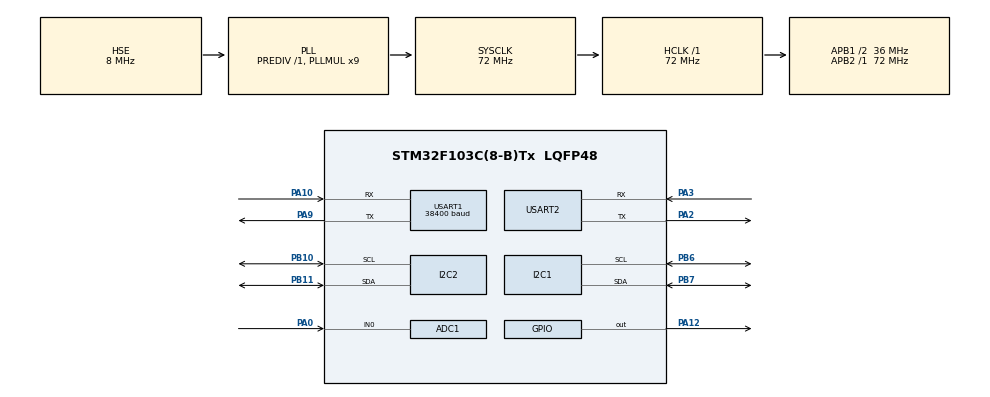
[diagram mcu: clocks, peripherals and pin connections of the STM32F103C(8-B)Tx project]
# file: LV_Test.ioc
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ADC1.Channel-5\#ChannelRegularConversion=ADC_CHANNEL_0
ADC1.ContinuousConvMode=ENABLE
ADC1.DataAlign=ADC_DATAALIGN_RIGHT
ADC1.DiscontinuousConvMode=DISABLE
ADC1.EnableAnalogWatchDog=false
ADC1.EnableRegularConversion=ENABLE
ADC1.ExternalTrigConv=ADC_SOFTWARE_START
ADC1.InjNumberOfConversion=0
ADC1.NbrOfConversion=1
ADC1.NbrOfConversionFlag=1
ADC1.Rank-5\#ChannelRegularConversion=1
ADC1.SamplingTime-5\#ChannelRegularConversion=ADC_SAMPLETIME_239CYCLES_5
ADC1.ScanConvMode=ADC_SCAN_DISABLE
ADC1.master=1
Dma.ADC1.2.Direction=DMA_PERIPH_TO_MEMORY
Dma.ADC1.2.Instance=DMA1_Channel1
Dma.ADC1.2.MemDataAlignment=DMA_MDATAALIGN_HALFWORD
Dma.ADC1.2.MemInc=DMA_MINC_ENABLE
Dma.ADC1.2.Mode=DMA_NORMAL
Dma.ADC1.2.PeriphDataAlignment=DMA_PDATAALIGN_HALFWORD
Dma.ADC1.2.PeriphInc=DMA_PINC_DISABLE
Dma.ADC1.2.Priority=DMA_PRIORITY_LOW
Dma.Request0=USART2_RX
Dma.Request1=USART1_RX
Dma.Request2=ADC1
Dma.USART1_RX.1.Direction=DMA_PERIPH_TO_MEMORY
Dma.USART1_RX.1.Instance=DMA1_Channel5
Dma.USART1_RX.1.MemDataAlignment=DMA_MDATAALIGN_BYTE
Dma.USART1_RX.1.MemInc=DMA_MINC_ENABLE
Dma.USART1_RX.1.Mode=DMA_NORMAL
Dma.USART1_RX.1.PeriphDataAlignment=DMA_PDATAALIGN_BYTE
Dma.USART1_RX.1.PeriphInc=DMA_PINC_DISABLE
Dma.USART1_RX.1.Priority=DMA_PRIORITY_LOW
Dma.USART2_RX.0.Direction=DMA_PERIPH_TO_MEMORY
Dma.USART2_RX.0.Instance=DMA1_Channel6
Dma.USART2_RX.0.MemDataAlignment=DMA_MDATAALIGN_BYTE
Dma.USART2_RX.0.MemInc=DMA_MINC_ENABLE
Dma.USART2_RX.0.Mode=DMA_NORMAL
Dma.USART2_RX.0.PeriphDataAlignment=DMA_PDATAALIGN_BYTE
Dma.USART2_RX.0.PeriphInc=DMA_PINC_DISABLE
Dma.USART2_RX.0.Priority=DMA_PRIORITY_LOW
I2C1.I2C_Mode=I2C_Standard
I2C2.I2C_Mode=I2C_Standard
I2C2.OwnAddress=111
Mcu.Family=STM32F1
Mcu.Name=STM32F103C(8-B)Tx
Mcu.Package=LQFP48
NVIC.ADC1_2_IRQn=true\:0\:0\:false\:false\:true\:true
NVIC.DMA1_Channel1_IRQn=true\:0\:0\:false\:false\:true\:false
NVIC.DMA1_Channel5_IRQn=true\:0\:0\:false\:false\:true\:false
NVIC.DMA1_Channel6_IRQn=true\:0\:0\:false\:false\:true\:false
NVIC.PriorityGroup=NVIC_PRIORITYGROUP_4
NVIC.USART1_IRQn=true\:0\:0\:false\:false\:true\:true
NVIC.USART2_IRQn=true\:0\:0\:false\:false\:true\:true
PA0-WKUP.Signal=ADCx_IN0
PA10.Mode=Asynchronous
PA10.Signal=USART1_RX
PA12.Signal=GPIO_Output
PA13.Mode=Serial_Wire
PA13.Signal=SYS_JTMS-SWDIO
PA14.Mode=Serial_Wire
PA14.Signal=SYS_JTCK-SWCLK
PA2.Mode=Asynchronous
PA2.Signal=USART2_TX
PA3.Mode=Asynchronous
PA3.Signal=USART2_RX
PA9.Mode=Asynchronous
PA9.Signal=USART1_TX
PB10.Mode=I2C
PB10.Signal=I2C2_SCL
PB11.Mode=I2C
PB11.Signal=I2C2_SDA
PB6.Mode=I2C
PB6.Signal=I2C1_SCL
PB7.Mode=I2C
PB7.Signal=I2C1_SDA
PD0-OSC_IN.Mode=HSE-External-Oscillator
PD0-OSC_IN.Signal=RCC_OSC_IN
PD1-OSC_OUT.Mode=HSE-External-Oscillator
PD1-OSC_OUT.Signal=RCC_OSC_OUT
ProjectManager.HeapSize=0x200
ProjectManager.StackSize=0x400
ProjectManager.TargetToolchain=MDK-ARM V5
RCC.ADCPresc=RCC_ADCPCLK2_DIV6
RCC.AHBFreq_Value=72000000
RCC.APB1CLKDivider=RCC_HCLK_DIV2
RCC.APB1Freq_Value=36000000
RCC.APB1TimFreq_Value=72000000
RCC.APB2Freq_Value=72000000
RCC.APB2TimFreq_Value=72000000
RCC.HCLKFreq_Value=72000000
RCC.PLLMUL=RCC_PLL_MUL9
RCC.PLLSourceVirtual=RCC_PLLSOURCE_HSE
RCC.SYSCLKFreq_VALUE=72000000
RCC.SYSCLKSource=RCC_SYSCLKSOURCE_PLLCLK
RCC.USBFreq_Value=72000000
SH.ADCx_IN0.0=ADC1_IN0,IN0
USART1.BaudRate=38400
USART1.VirtualMode=VM_ASYNC
USART2.VirtualMode=VM_ASYNC
board=custom

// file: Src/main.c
/**
  ******************************************************************************
  * @file           : main.c
  * @brief          : Main program body
  ******************************************************************************
  ** This notice applies to any and all portions of this file
  * that are not between comment pairs USER CODE BEGIN and
  * USER CODE END. Other portions of this file, whether
  * inserted by the user or by software development tools
  * are owned by their respective copyright owners.
  *
  * COPYRIGHT(c) 2018 STMicroelectronics
  *
  * Redistribution and use in source and binary forms, with or without modification,
  * are permitted provided that the following conditions are met:
  *   1. Redistributions of source code must retain the above copyright notice,
  *      this list of conditions and the following disclaimer.
  *   2. Redistributions in binary form must reproduce the above copyright notice,
  *      this list of conditions and the following disclaimer in the documentation
  *      and/or other materials provided with the distribution.
  *   3. Neither the name of STMicroelectronics nor the names of its contributors
  *      may be used to endorse or promote products derived from this software
  *      without specific prior written permission.
  *
  * THIS SOFTWARE IS PROVIDED BY THE COPYRIGHT HOLDERS AND CONTRIBUTORS "AS IS"
  * AND ANY EXPRESS OR IMPLIED WARRANTIES, INCLUDING, BUT NOT LIMITED TO, THE
  * IMPLIED WARRANTIES OF MERCHANTABILITY AND FITNESS FOR A PARTICULAR PURPOSE ARE
  * DISCLAIMED. IN NO EVENT SHALL THE COPYRIGHT HOLDER OR CONTRIBUTORS BE LIABLE
  * FOR ANY DIRECT, INDIRECT, INCIDENTAL, SPECIAL, EXEMPLARY, OR CONSEQUENTIAL
  * DAMAGES (INCLUDING, BUT NOT LIMITED TO, PROCUREMENT OF SUBSTITUTE GOODS OR
  * SERVICES; LOSS OF USE, DATA, OR PROFITS; OR BUSINESS INTERRUPTION) HOWEVER
  * CAUSED AND ON ANY THEORY OF LIABILITY, WHETHER IN CONTRACT, STRICT LIABILITY,
  * OR TORT (INCLUDING NEGLIGENCE OR OTHERWISE) ARISING IN ANY WAY OUT OF THE USE
  * OF THIS SOFTWARE, EVEN IF ADVISED OF THE POSSIBILITY OF SUCH DAMAGE.
  *
  ******************************************************************************
  */
#include "main.h"
#include "stm32f1xx_hal.h"

/* USER CODE BEGIN Includes */
#include <stdbool.h>
#include "stdio.h"
#include <stdlib.h>
#include <math.h>
#include <string.h>
#include "ds18b20_mflib.h"
#include "BH1750_lib.h"

/* USER CODE END Includes */

ADC_HandleTypeDef hadc1;
DMA_HandleTypeDef hdma_adc1;

I2C_HandleTypeDef hi2c1;
I2C_HandleTypeDef hi2c2;

UART_HandleTypeDef huart1;
UART_HandleTypeDef huart2;
DMA_HandleTypeDef hdma_usart1_rx;
DMA_HandleTypeDef hdma_usart2_rx;

/* USER CODE BEGIN PV */
/* Private variables ---------------------------------------------------------*/
uint32_t time_us;
uint32_t temp=0;

volatile uint16_t vt=0,vt_all=0,ADC_value;
volatile uint8_t send_data=42,receive_data;
char receive[2],send[1000],receive_all[1000];
volatile uint16_t BH_value=0;
int a;
volatile float ADC_Phys;
volatile bool IsCplConvADC=false;
/* USER CODE END PV */

void SystemClock_Config(void);
static void MX_GPIO_Init(void);
static void MX_DMA_Init(void);
static void MX_USART1_UART_Init(void);
static void MX_USART2_UART_Init(void);
static void MX_I2C1_Init(void);
static void MX_I2C2_Init(void);
static void MX_ADC1_Init(void);

/* USER CODE BEGIN PFP */
/* Private function prototypes -----------------------------------------------*/
__STATIC_INLINE void DelayMicro(__IO uint32_t micros)
{
micros *= (SystemCoreClock / 1000000) / 9;
/* Wait till done */
while (micros--) ;
}
/* USER CODE END PFP */

/* USER CODE BEGIN 0 */
bool Check_str(char a[],char b[], uint16_t v)
{
		for (int i = strlen(b); i > 0; i--)
		{
				if ( a[v-strlen(b)+i-1] != b[i-1]) return false;
		}
		return true;
}
/* USER CODE END 0 */

int main(void)
{

  /* MCU Configuration----------------------------------------------------------*/

  /* Reset of all peripherals, Initializes the Flash interface and the Systick. */
  HAL_Init();

  /* Configure the system clock */
  SystemClock_Config();

  /* Initialize all configured peripherals */
  MX_GPIO_Init();
  MX_DMA_Init();
  MX_USART1_UART_Init();
  MX_USART2_UART_Init();
  MX_I2C1_Init();
  MX_I2C2_Init();
  MX_ADC1_Init();
  /* USER CODE BEGIN 2 */
	HAL_UART_Receive_IT(&huart1,receive,2);
	strcpy(send,"Hello\r\n");
	HAL_UART_Transmit_IT(&huart2,send,strlen(send));
	ds18b20_init_seq();
	ds18b20_send_rom_cmd(SKIP_ROM_CMD_BYTE);
	ds18b20_send_function_cmd(CONVERT_T_CMD);

	DelayMicro(100);
	ds18b20_init_seq();
	ds18b20_send_rom_cmd(SKIP_ROM_CMD_BYTE);
	ds18b20_send_function_cmd(READ_SCRATCHPAD_CMD);
	for (int i = 1; i<0xff; i++)
	{
		if (HAL_I2C_IsDeviceReady(&hi2c1,i,1,10)==HAL_OK)
		{
			a=i;
		}
	}
	BH1750_SetAddress(Device_Address_L);
//	//RequestLightIntensity(&hi2c1,BH);
	BH1750_Start(&hi2c1);
	BH1750_Reset(&hi2c1);
	BH1750_SetMode(&hi2c1,Continuous_H_resolution_Mode);
  /* USER CODE END 2 */

  /* Infinite loop */
  /* USER CODE BEGIN WHILE */
//	data=0x01;
//	HAL_I2C_Master_Transmit_DMA(&hi2c1,0x23,&data,1);

  while (1)
  {

  /* USER CODE END WHILE */

  /* USER CODE BEGIN 3 */
		//HAL_UART_Transmit_IT(&huart2,receive,strlen(receive
			if((receive[0]==0x31)&&(receive[1]=='@'))
		{
		receive[0]=0;
		receive[1]=0;
		vt=0;
		ds18b20_init_seq();
		ds18b20_send_rom_cmd(SKIP_ROM_CMD_BYTE);
		ds18b20_send_function_cmd(CONVERT_T_CMD);

		DelayMicro(100);

		ds18b20_init_seq();
		ds18b20_send_rom_cmd(SKIP_ROM_CMD_BYTE);
		ds18b20_send_function_cmd(READ_SCRATCHPAD_CMD);
		temp = ds18b20_read_temp();	// returns float value
		BH_value=GetLightIntensity(&hi2c1);
		ADC_value=0;
		for (int i = 0; i<32; i++)
		{
			uint16_t ADC_value_tmp;
			HAL_ADC_Start_DMA(&hadc1,(uint32_t *) &ADC_value_tmp,1);
			while(!IsCplConvADC);
			IsCplConvADC=false;
			ADC_value+=ADC_value_tmp;
		}
		ADC_Phys=1-(float)ADC_value/(4095*32);

		sprintf(send,"%d@%d@%1.3f\r\n",temp,BH_value,ADC_Phys);
	  HAL_UART_Transmit_IT(&huart1,send,strlen(send));
		}
		//HAL_Delay(1000);
  }
  /* USER CODE END 3 */

}

void SystemClock_Config(void)
{

  RCC_OscInitTypeDef RCC_OscInitStruct;
  RCC_ClkInitTypeDef RCC_ClkInitStruct;
  RCC_PeriphCLKInitTypeDef PeriphClkInit;

    /**Initializes the CPU, AHB and APB busses clocks
    */
  RCC_OscInitStruct.OscillatorType = RCC_OSCILLATORTYPE_HSE;
  RCC_OscInitStruct.HSEState = RCC_HSE_ON;
  RCC_OscInitStruct.HSEPredivValue = RCC_HSE_PREDIV_DIV1;
  RCC_OscInitStruct.HSIState = RCC_HSI_ON;
  RCC_OscInitStruct.PLL.PLLState = RCC_PLL_ON;
  RCC_OscInitStruct.PLL.PLLSource = RCC_PLLSOURCE_HSE;
  RCC_OscInitStruct.PLL.PLLMUL = RCC_PLL_MUL9;
  if (HAL_RCC_OscConfig(&RCC_OscInitStruct) != HAL_OK)
  {
    _Error_Handler(__FILE__, __LINE__);
  }

    /**Initializes the CPU, AHB and APB busses clocks
    */
  RCC_ClkInitStruct.ClockType = RCC_CLOCKTYPE_HCLK|RCC_CLOCKTYPE_SYSCLK
                              |RCC_CLOCKTYPE_PCLK1|RCC_CLOCKTYPE_PCLK2;
  RCC_ClkInitStruct.SYSCLKSource = RCC_SYSCLKSOURCE_PLLCLK;
  RCC_ClkInitStruct.AHBCLKDivider = RCC_SYSCLK_DIV1;
  RCC_ClkInitStruct.APB1CLKDivider = RCC_HCLK_DIV2;
  RCC_ClkInitStruct.APB2CLKDivider = RCC_HCLK_DIV1;

  if (HAL_RCC_ClockConfig(&RCC_ClkInitStruct, FLASH_LATENCY_2) != HAL_OK)
  {
    _Error_Handler(__FILE__, __LINE__);
  }

  PeriphClkInit.PeriphClockSelection = RCC_PERIPHCLK_ADC;
  PeriphClkInit.AdcClockSelection = RCC_ADCPCLK2_DIV6;
  if (HAL_RCCEx_PeriphCLKConfig(&PeriphClkInit) != HAL_OK)
  {
    _Error_Handler(__FILE__, __LINE__);
  }

    /**Configure the Systick interrupt time
    */
  HAL_SYSTICK_Config(HAL_RCC_GetHCLKFreq()/1000);

    /**Configure the Systick
    */
  HAL_SYSTICK_CLKSourceConfig(SYSTICK_CLKSOURCE_HCLK);

  /* SysTick_IRQn interrupt configuration */
  HAL_NVIC_SetPriority(SysTick_IRQn, 0, 0);
}

/* ADC1 init function */
static void MX_ADC1_Init(void)
{

  ADC_ChannelConfTypeDef sConfig;

    /**Common config
    */
  hadc1.Instance = ADC1;
  hadc1.Init.ScanConvMode = ADC_SCAN_DISABLE;
  hadc1.Init.ContinuousConvMode = ENABLE;
  hadc1.Init.DiscontinuousConvMode = DISABLE;
  hadc1.Init.ExternalTrigConv = ADC_SOFTWARE_START;
  hadc1.Init.DataAlign = ADC_DATAALIGN_RIGHT;
  hadc1.Init.NbrOfConversion = 1;
  if (HAL_ADC_Init(&hadc1) != HAL_OK)
  {
    _Error_Handler(__FILE__, __LINE__);
  }

    /**Configure Regular Channel
    */
  sConfig.Channel = ADC_CHANNEL_0;
  sConfig.Rank = ADC_REGULAR_RANK_1;
  sConfig.SamplingTime = ADC_SAMPLETIME_41CYCLES_5;
  if (HAL_ADC_ConfigChannel(&hadc1, &sConfig) != HAL_OK)
  {
    _Error_Handler(__FILE__, __LINE__);
  }

}

/* I2C1 init function */
static void MX_I2C1_Init(void)
{

  hi2c1.Instance = I2C1;
  hi2c1.Init.ClockSpeed = 100000;
  hi2c1.Init.DutyCycle = I2C_DUTYCYCLE_2;
  hi2c1.Init.OwnAddress1 = 0;
  hi2c1.Init.AddressingMode = I2C_ADDRESSINGMODE_7BIT;
  hi2c1.Init.DualAddressMode = I2C_DUALADDRESS_DISABLE;
  hi2c1.Init.OwnAddress2 = 0;
  hi2c1.Init.GeneralCallMode = I2C_GENERALCALL_DISABLE;
  hi2c1.Init.NoStretchMode = I2C_NOSTRETCH_DISABLE;
  if (HAL_I2C_Init(&hi2c1) != HAL_OK)
  {
    _Error_Handler(__FILE__, __LINE__);
  }

}

/* I2C2 init function */
static void MX_I2C2_Init(void)
{

  hi2c2.Instance = I2C2;
  hi2c2.Init.ClockSpeed = 100000;
  hi2c2.Init.DutyCycle = I2C_DUTYCYCLE_2;
  hi2c2.Init.OwnAddress1 = 222;
  hi2c2.Init.AddressingMode = I2C_ADDRESSINGMODE_7BIT;
  hi2c2.Init.DualAddressMode = I2C_DUALADDRESS_DISABLE;
  hi2c2.Init.OwnAddress2 = 0;
  hi2c2.Init.GeneralCallMode = I2C_GENERALCALL_DISABLE;
  hi2c2.Init.NoStretchMode = I2C_NOSTRETCH_DISABLE;
  if (HAL_I2C_Init(&hi2c2) != HAL_OK)
  {
    _Error_Handler(__FILE__, __LINE__);
  }

}

/* USART1 init function */
static void MX_USART1_UART_Init(void)
{

  huart1.Instance = USART1;
  huart1.Init.BaudRate = 38400;
  huart1.Init.WordLength = UART_WORDLENGTH_8B;
  huart1.Init.StopBits = UART_STOPBITS_1;
  huart1.Init.Parity = UART_PARITY_NONE;
  huart1.Init.Mode = UART_MODE_TX_RX;
  huart1.Init.HwFlowCtl = UART_HWCONTROL_NONE;
  huart1.Init.OverSampling = UART_OVERSAMPLING_16;
  if (HAL_UART_Init(&huart1) != HAL_OK)
  {
    _Error_Handler(__FILE__, __LINE__);
  }

}

/* USART2 init function */
static void MX_USART2_UART_Init(void)
{

  huart2.Instance = USART2;
  huart2.Init.BaudRate = 38400;
  huart2.Init.WordLength = UART_WORDLENGTH_8B;
  huart2.Init.StopBits = UART_STOPBITS_1;
  huart2.Init.Parity = UART_PARITY_NONE;
  huart2.Init.Mode = UART_MODE_TX_RX;
  huart2.Init.HwFlowCtl = UART_HWCONTROL_NONE;
  huart2.Init.OverSampling = UART_OVERSAMPLING_16;
  if (HAL_UART_Init(&huart2) != HAL_OK)
  {
    _Error_Handler(__FILE__, __LINE__);
  }

}

static void MX_DMA_Init(void)
{
  /* DMA controller clock enable */
  __HAL_RCC_DMA1_CLK_ENABLE();

  /* DMA interrupt init */
  /* DMA1_Channel1_IRQn interrupt configuration */
  HAL_NVIC_SetPriority(DMA1_Channel1_IRQn, 0, 0);
  HAL_NVIC_EnableIRQ(DMA1_Channel1_IRQn);
  /* DMA1_Channel5_IRQn interrupt configuration */
  HAL_NVIC_SetPriority(DMA1_Channel5_IRQn, 0, 0);
  HAL_NVIC_EnableIRQ(DMA1_Channel5_IRQn);
  /* DMA1_Channel6_IRQn interrupt configuration */
  HAL_NVIC_SetPriority(DMA1_Channel6_IRQn, 0, 0);
  HAL_NVIC_EnableIRQ(DMA1_Channel6_IRQn);

}

/** Configure pins as
        * Analog
        * Input
        * Output
        * EVENT_OUT
        * EXTI
*/
static void MX_GPIO_Init(void)
{

  GPIO_InitTypeDef GPIO_InitStruct;

  /* GPIO Ports Clock Enable */
  __HAL_RCC_GPIOD_CLK_ENABLE();
  __HAL_RCC_GPIOA_CLK_ENABLE();
  __HAL_RCC_GPIOB_CLK_ENABLE();

  /*Configure GPIO pin Output Level */
  HAL_GPIO_WritePin(GPIOA, GPIO_PIN_12, GPIO_PIN_RESET);

  /*Configure GPIO pin : PA12 */
  GPIO_InitStruct.Pin = GPIO_PIN_12;
  GPIO_InitStruct.Mode = GPIO_MODE_OUTPUT_PP;
  GPIO_InitStruct.Pull = GPIO_NOPULL;
  GPIO_InitStruct.Speed = GPIO_SPEED_FREQ_LOW;
  HAL_GPIO_Init(GPIOA, &GPIO_InitStruct);

}

/* USER CODE BEGIN 4 */
void HAL_UART_RxCpltCallback(UART_HandleTypeDef *huart)
{
	if(huart->Instance==huart1.Instance)
	{
	//	HAL_UART_Receive_IT(&huart2,&data_dieukhien,1);
		HAL_UART_Receive_IT(&huart1,receive,2);
	//	receive[vt]= receive_data;
		//receive_all[vt_all]= receive_data;
		//		vt++;
	//	vt_all++;
	}
}
void HAL_ADC_ConvCpltCallback(ADC_HandleTypeDef* hadc)
{
  /* Prevent unused argument(s) compilation warning */
  if(hadc->Instance==hadc1.Instance)
	{
		IsCplConvADC=true;
	}
  /* NOTE : This function should not be modified. When the callback is needed,
            function HAL_ADC_ConvCpltCallback must be implemented in the user file.
   */
}
/* USER CODE END 4 */

void _Error_Handler(char *file, int line)
{
  while(1)
  {
  }
}

/************************ (C) COPYRIGHT STMicroelectronics *****END OF FILE****/
